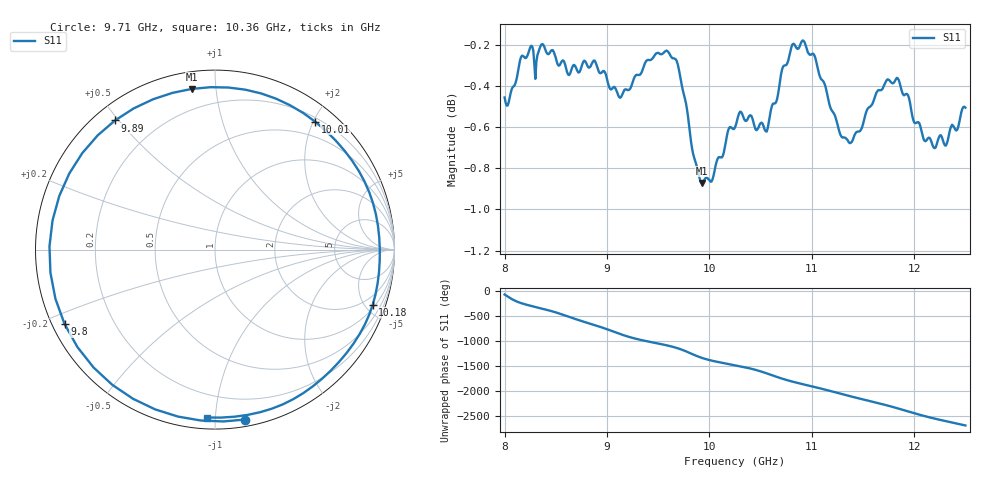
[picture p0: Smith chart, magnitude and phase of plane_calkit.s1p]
#  HZ  S  RI  R  50.00
! Rohde & Schwarz Vector Network Analyzer
! Rohde-Schwarz,ZNA43-4Port,1332450044101932,2.92
! Created: UTC 6/1/2026, 11:40:23 AM
! freq[Hz]  re:S11  im:S11
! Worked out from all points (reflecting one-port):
!   451 points, 8 GHz to 12.5 GHz, reference 50 ohm
!   lowest |S11| = -0.9 dB at 9.93 GHz (marker M1), VSWR 19.95, Z = 4.38 + j43.1 ohm
!   phase of S11 starts at -71 deg and turns -2620 deg over the sweep
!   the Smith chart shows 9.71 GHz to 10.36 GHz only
!   S11 on the Smith chart (normalised r, x): 9.71 GHz: 0.05, -1.19; 9.8 GHz: 0.04, -0.23; 9.89 GHz: 0.06, +0.49; 10.01 GHz: 0.26, +2.02; 10.18 GHz: 1.22, -5.64; 10.36 GHz: 0.06, -0.95
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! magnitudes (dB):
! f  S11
! 8 GHz  -0.5
! 8.25 GHz  -0.2
! 8.3 GHz  -0.4
! 8.37 GHz  -0.2
! 8.57 GHz  -0.3
! 8.88 GHz  -0.3
! 9.13 GHz  -0.5
! 9.49 GHz  -0.2
! 9.69 GHz  -0.3
! 9.71 GHz  -0.3
! 9.8 GHz  -0.6
! 9.89 GHz  -0.8
! 9.93 GHz  -0.9
! 10.01 GHz  -0.9
! 10.18 GHz  -0.6
! 10.25 GHz  -0.6
! 10.36 GHz  -0.6
! 10.56 GHz  -0.6
! 10.82 GHz  -0.2
! 11.02 GHz  -0.2
! 11.28 GHz  -0.6
! 11.38 GHz  -0.7
! 11.73 GHz  -0.4
! 11.94 GHz  -0.4
! 12 GHz  -0.6
! 12.2 GHz  -0.7
! 12.31 GHz  -0.7
! 12.5 GHz  -0.5
